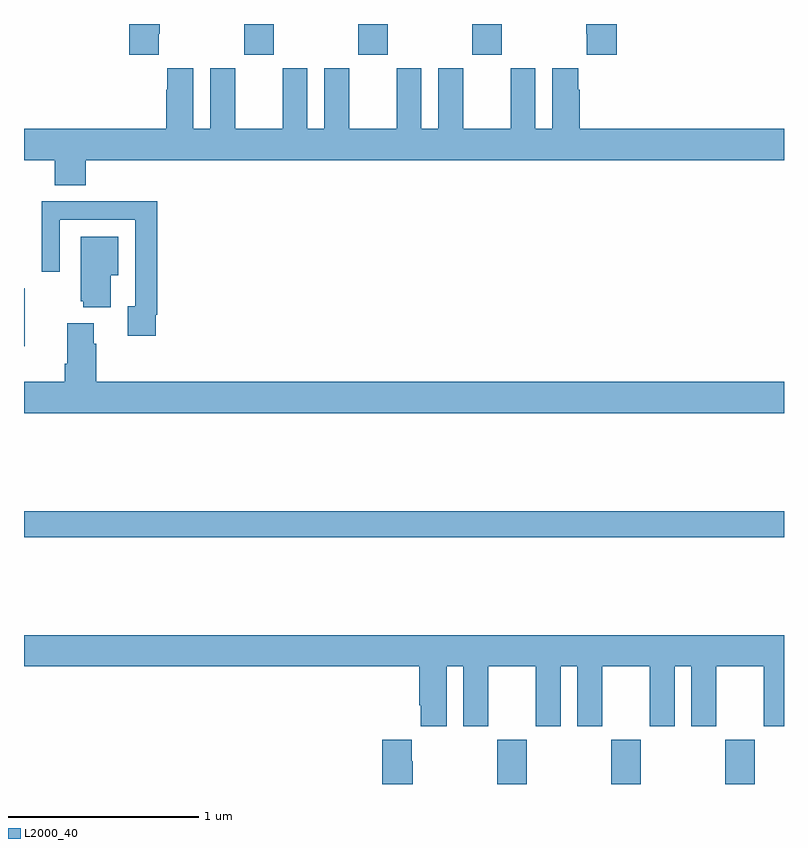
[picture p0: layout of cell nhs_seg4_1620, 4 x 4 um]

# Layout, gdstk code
import gdstk
lib = gdstk.Library(unit=1e-6, precision=1e-09)
def R(c, l, rs):  # rectangles x0, y0, x1, y1
    for r in rs: c.add(gdstk.rectangle(r[:2], r[2:], *l))
def A(c, l, x, y, w, h, nx, ny, dx, dy):  # array of equal rectangles
    R(c, l, [(x+i*dx, y+j*dy, x+i*dx+w, y+j*dy+h) for i in range(nx) for j in range(ny)])
def P(c, l, *ps):  # polygons
    for p in ps: c.add(gdstk.Polygon(p, *l))
L2000_40 = (2000, 40)

nhs_seg4_1620 = lib.new_cell('nhs_seg4_1620')
A(nhs_seg4_1620, L2000_40, 197.491, 762.9, 0.155, 0.232, 3, 1, 0.6, 0)
A(nhs_seg4_1620, L2000_40, 196.159, 766.737, 0.155, 0.163, 3, 1, 0.6, 0)
R(nhs_seg4_1620, L2000_40, [(195,764.2,199,764.336), (195,765.203,195.003,765.509)])
P(nhs_seg4_1620, L2000_40, [(198.119,766.9),(197.959,766.9),(197.959,766.849),(197.963,766.849),(197.963,766.737),(198.119,766.737)],
  [(195.709,766.849),(195.714,766.849),(195.714,766.9),(195.554,766.9),(195.554,766.737),(195.709,766.737)],
  [(195,766.184),(195.161,766.184),(195.161,766.051),(195.326,766.051),(195.326,766.184),(199,766.184),(199,766.348),(197.924,766.348),(197.924,766.553),(197.917,766.553),(197.917,766.666),(197.78,766.666),(197.78,766.348),(197.692,766.348),(197.692,766.666),(197.561,766.666),(197.561,766.348),(197.311,766.348),(197.311,766.666),(197.18,766.666),(197.18,766.348),(197.092,766.348),(197.092,766.666),(196.961,766.666),(196.961,766.348),(196.711,766.348),(196.711,766.666),(196.58,766.666),(196.58,766.348),(196.492,766.348),(196.492,766.666),(196.361,766.666),(196.361,766.348),(196.111,766.348),(196.111,766.666),(195.98,766.666),(195.98,766.348),(195.892,766.348),(195.892,766.666),(195.755,766.666),(195.755,766.553),(195.749,766.553),(195.749,766.348),(195,766.348)],
  [(195.694,765.37),(195.701,765.37),(195.701,765.968),(195.409,765.968),(195.409,765.966),(195.093,765.966),(195.093,765.597),(195.189,765.597),(195.189,765.87),(195.585,765.87),(195.585,765.414),(195.545,765.414),(195.545,765.258),(195.694,765.258)],
  [(195.457,765.578),(195.496,765.578),(195.496,765.781),(195.299,765.781),(195.299,765.441),(195.311,765.441),(195.311,765.41),(195.457,765.41)],
  [(199,765.016),(195.38,765.016),(195.38,765.218),(195.367,765.218),(195.367,765.325),(195.227,765.325),(195.227,765.112),(195.215,765.112),(195.215,765.016),(195,765.016),(195,764.852),(199,764.852)],
  [(197.224,763.52),(197.312,763.52),(197.312,763.203),(197.443,763.203),(197.443,763.52),(197.693,763.52),(197.693,763.203),(197.824,763.203),(197.824,763.52),(197.912,763.52),(197.912,763.203),(198.043,763.203),(198.043,763.52),(198.293,763.52),(198.293,763.203),(198.424,763.203),(198.424,763.52),(198.512,763.52),(198.512,763.203),(198.643,763.203),(198.643,763.52),(198.893,763.52),(198.893,763.203),(199,763.203),(199,763.684),(195,763.684),(195,763.52),(197.081,763.52),(197.081,763.315),(197.087,763.315),(197.087,763.203),(197.224,763.203)],
  [(197.046,763.019),(197.041,763.019),(197.041,763.132),(196.886,763.132),(196.886,762.9),(197.046,762.9)])

lib.write_gds('nhs_seg4_1620.gds')
